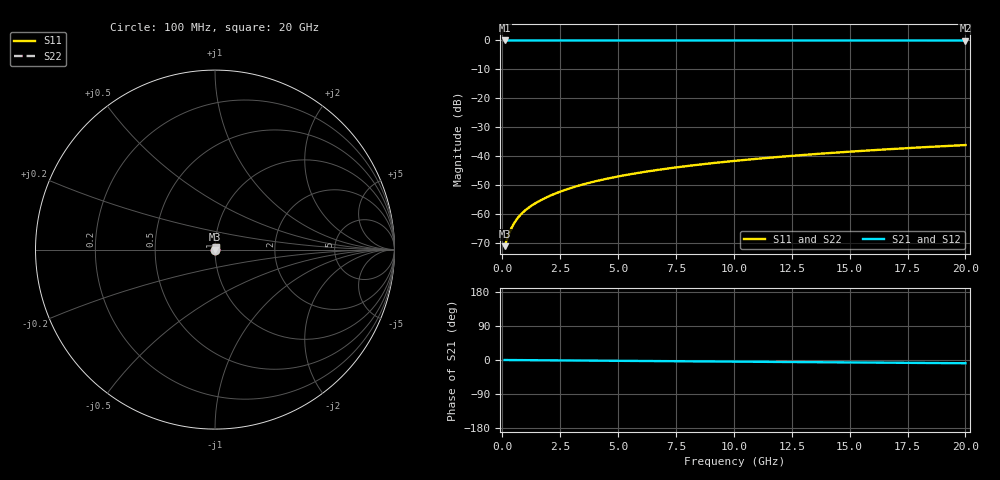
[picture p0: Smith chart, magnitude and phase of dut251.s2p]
! Touchstone file exported from HFSS 2026.1.0
!  File:  C:/ffzhzh/LocalFiles/Ansys_Project_Files/temp_train_TSV_251_1782992875_42984.aedt
!  Generated:  07:49:43 PM Jul  2, 2026
!  Design:  TSV
!  Project:  temp_train_TSV_251_1782992875_42984
! Variables:
!  h_bsmrdl = 2um
!  h_ox = 20um
!  h_rdl = 5um
!  h_sub = 88.74um
!  h_tmrdl = 5um
!  h_tsv = 88.74um
!  h_via = 3um
!  l_bsmrdl = 300um
!  l_sub = 413.88um
!  l_tmrdl = 200um
!  m_sub = 200um
!  pitch = 32.25um
!  r_tsv = 6.94um
!  s_tmrdl = 10um
!  w_bsmrdl = 18um
!  w_sub = 500um
!  w_tmrdl = 12um
!  x_tsv_center1 = 206um
!  x_tsv_center2 = 524um
!  x_tsv_center3 = 736um
!  x_tsv_center4 = 1054um
!  x_tsv_center5 = 1266um
!  x_tsv_center6 = 1584um
# GHz S MA R 50.000000
! Terminal data exported
! Port[1] = TSV1_1_T1
! Port[2] = TSV1_1_T2
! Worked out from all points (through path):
!   200 points, 100 MHz to 20 GHz, reference 50 ohm
!   highest |S21| = 0.00 dB at 100 MHz (marker M1); lowest = 0.0 dB at 20 GHz (marker M2)
!   group delay of S21, straight-line fit = 1.18 ps
!   lowest |S11| = -71.0 dB at 100 MHz (marker M3), VSWR 1.00, Z = 50 + j0.013 ohm
!   |S11| at or under -10 dB: start of sweep to end of sweep
!   |S22| runs from -71.0 to -36.1 dB; largest |S21 - S12| = 4.3e-15
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0.1  0.0002821 27.5  0.9997 -0.0  0.9997 -0.0  0.0002821 27.5
! Gamma 0 0 0 0
! Port Impedance 50 0 50 0
0.3  0.0004739 53.2  0.9997 -0.1  0.9997 -0.1  0.0004739 53.2
0.4  0.0005836 58.0  0.9997 -0.2  0.9997 -0.2  0.0005836 58.0
0.5  0.0006917 60.9  0.9997 -0.2  0.9997 -0.2  0.0006917 60.9
0.6  0.0007962 62.7  0.9996 -0.3  0.9996 -0.3  0.0007962 62.7
0.8  0.0009934 65.1  0.9996 -0.4  0.9996 -0.4  0.0009934 65.1
0.9  0.001087 65.9  0.9996 -0.4  0.9996 -0.4  0.001087 65.9
1.1  0.001268 67.4  0.9995 -0.5  0.9995 -0.5  0.001268 67.4
1.5  0.001614 69.6  0.9994 -0.7  0.9994 -0.7  0.001614 69.6
1.8  0.001869 71.0  0.9994 -0.8  0.9994 -0.8  0.001869 71.0
2.1  0.002123 72.0  0.9994 -0.9  0.9994 -0.9  0.002123 72.0
2.8  0.00271 73.7  0.9993 -1.2  0.9993 -1.2  0.00271 73.7
3.5  0.00329 74.7  0.9992 -1.5  0.9992 -1.5  0.00329 74.7
4.2  0.003861 75.3  0.9991 -1.8  0.9991 -1.8  0.003861 75.3
5  0.004501 75.8  0.999 -2.2  0.999 -2.2  0.004501 75.8
5.9  0.005209 76.1  0.999 -2.5  0.999 -2.5  0.005209 76.1
6.8  0.005906 76.3  0.9989 -2.9  0.9989 -2.9  0.005906 76.3
8.3  0.007052 76.5  0.9988 -3.6  0.9988 -3.6  0.007051 76.5
10.1  0.00841 76.5  0.9986 -4.3  0.9986 -4.3  0.008409 76.5
13.4  0.01087 76.1  0.9984 -5.7  0.9984 -5.7  0.01087 76.1
16.7  0.01329 75.4  0.9982 -7.1  0.9982 -7.1  0.01329 75.4
20  0.01567 74.5  0.998 -8.5  0.998 -8.5  0.01567 74.5
